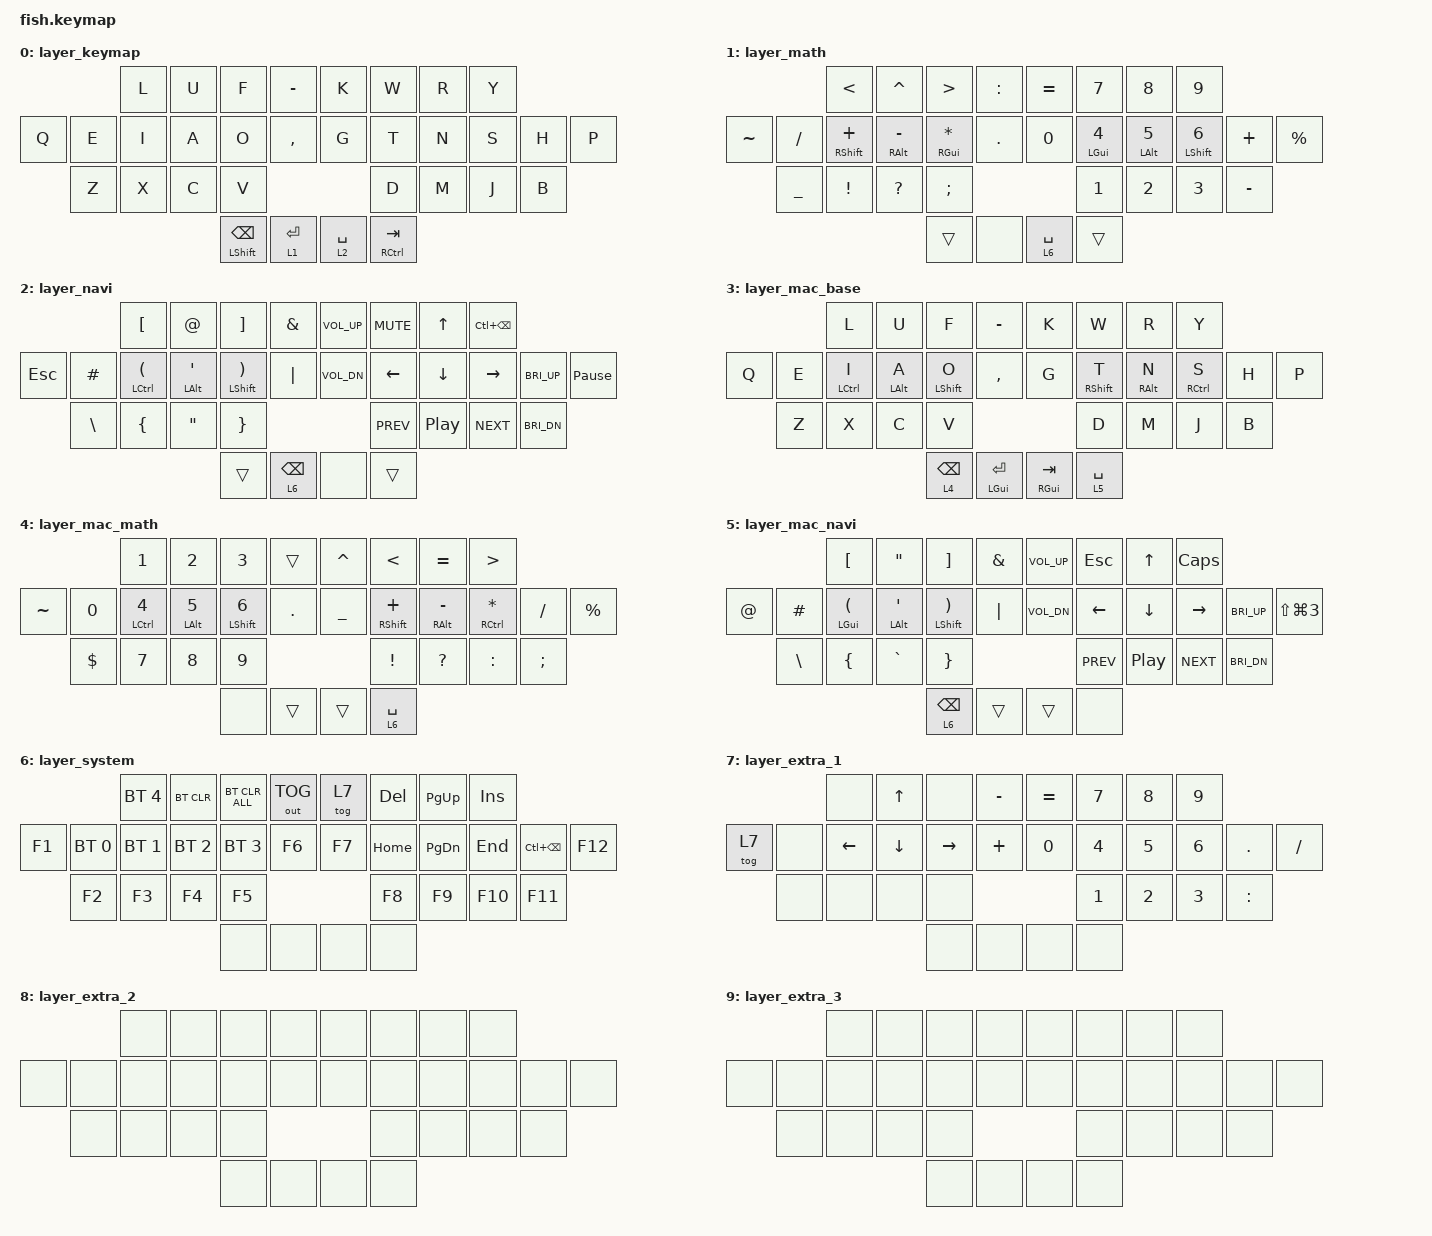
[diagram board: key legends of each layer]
// デフォルトキーマップ（大西配列、Win優先、ANSI方式）
// キーマップを更新する方法は https://o24.works/fish/guide を参照
// 視覚的に編集するには https://o24.works/fish/editor を参照


// 定義を呼んでくる
#include <behaviors.dtsi>
#include <dt-bindings/zmk/keys.h>
#include <dt-bindings/zmk/mouse.h>
#include <dt-bindings/zmk/bt.h>
#include <dt-bindings/zmk/outputs.h>
#include <dt-bindings/zmk/pointing.h>


// 特殊入力の挙動を調整できる

&mt {
    flavor = "tap-preferred";
    tapping-term-ms = <225>;
    quick-tap-ms = <200>;
    require-prior-idle-ms = <150>;
};

&lt {
    flavor = "balanced";
    tapping-term-ms = <175>;
    quick-tap-ms = <200>;
};

&sk {
};

&sl {
};

&caps_word {
};

&key_repeat {
};


/ {
    // 独自の入力を定義できる（上級者向け）

    behaviors {
    };

    macros {
    };

    conditional_layers {
    };


    // 複数キーの同時押しに特別の入力を設定できる
    // キー番号早見表：
    //       0  1  2  3     4  5  6  7
    // 8  9 10 11 12 13    14 15 16 17 18 19
    //   20 21 22 23          24 25 26 27
    //            28 29    30 31

    combos {
        compatible = "zmk,combos";
        timeout-ms = <100>;
        require-prior-idle-ms = <150>;

        combo_lang2 {
            key-positions = <3 13>;
            bindings = <&kp LANG2>;
        };

        combo_lang1 {
            key-positions = <4 14>;
            bindings = <&kp LANG1>;
        };

        combo_reset_L {
            key-positions = <3 8 13>;
            bindings = <&bootloader>;
        };

        combo_reset_R {
            key-positions = <4 14 19>;
            bindings = <&bootloader>;
        };

        combo_studio_unlock {
            key-positions = <20 21 22 23>;
            bindings = <&studio_unlock>;
        };
    };
    

    // キーに入力を割り当てる
    // 型（&...）は https://zmk.dev/docs/behaviors/... を参照
    // キーコードは https://zmk.dev/docs/codes/... を参照

    keymap {
        compatible = "zmk,keymap";

        layer_keymap {
            bindings = <
                        &kp L       &kp U       &kp F       &kp MINUS           &kp K       &kp W       &kp R       &kp Y       
&kp Q       &kp E       &kp I       &kp A       &kp O       &kp COMMA           &kp G       &kp T       &kp N       &kp S       &kp H       &kp P       
            &kp Z       &kp X       &kp C       &kp V                                       &kp D       &kp M       &kp J       &kp B       
                                                &mt LSHFT BSPC &lt 1 RET        &lt 2 SPACE &mt RCTRL TAB 
            >;
        };

        layer_math {
            bindings = <
                        &kp LT      &kp CARET   &kp GT      &kp COLON           &kp EQUAL   &kp N7      &kp N8      &kp N9      
&kp TILDE   &kp FSLH    &mt RSHFT PLUS &mt RALT MINUS &mt RGUI STAR &kp DOT     &kp N0      &mt LGUI N4 &mt LALT N5 &mt LSHFT N6 &kp PLUS   &kp PRCNT   
            &kp UNDER   &kp EXCL    &kp QMARK   &kp SEMI                                    &kp N1      &kp N2      &kp N3      &kp MINUS   
                                                &trans      &none               &lt 6 SPACE &trans      
            >;
        };

        layer_navi {
            bindings = <
                        &kp LBKT    &kp AT      &kp RBKT    &kp AMPS            &kp C_VOL_UP &kp C_MUTE &kp UP      &kp LC(BSPC) 
&kp ESC     &kp HASH    &mt LCTRL LPAR &mt LALT SQT &mt LSHFT RPAR &kp PIPE     &kp C_VOL_DN &kp LEFT   &kp DOWN    &kp RIGHT   &kp C_BRI_UP &kp PAUSE_BREAK 
            &kp BSLH    &kp LBRC    &kp DQT     &kp RBRC                                    &kp C_PREV  &kp C_PP    &kp C_NEXT  &kp C_BRI_DN 
                                                &trans      &lt 6 BSPC          &none       &trans      
            >;
        };

        layer_mac_base {
            bindings = <
                        &kp L       &kp U       &kp F       &kp MINUS           &kp K       &kp W       &kp R       &kp Y       
&kp Q       &kp E       &mt LCTRL I &mt LALT A  &mt LSHFT O &kp COMMA           &kp G       &mt RSHFT T &mt RALT N  &mt RCTRL S &kp H       &kp P       
            &kp Z       &kp X       &kp C       &kp V                                       &kp D       &kp M       &kp J       &kp B       
                                                &lt 4 BSPC  &mt LGUI RET        &mt RGUI TAB &lt 5 SPACE 
            >;
        };

        layer_mac_math {
            bindings = <
                        &kp N1      &kp N2      &kp N3      &trans              &kp CARET   &kp LT      &kp EQUAL   &kp GT      
&kp TILDE   &kp N0      &mt LCTRL N4 &mt LALT N5 &mt LSHFT N6 &kp DOT           &kp UNDER   &mt RSHFT PLUS &mt RALT MINUS &mt RCTRL STAR &kp FSLH &kp PRCNT 
            &kp DLLR    &kp N7      &kp N8      &kp N9                                      &kp EXCL    &kp QMARK   &kp COLON   &kp SEMI    
                                                &none       &trans              &trans      &lt 6 SPACE 
            >;
        };

        layer_mac_navi {
            bindings = <
                        &kp LBKT    &kp DQT     &kp RBKT    &kp AMPS            &kp C_VOL_UP &kp ESC    &kp UP      &kp CAPS    
&kp AT      &kp HASH    &mt LGUI LPAR &mt LALT SQT &mt LSHFT RPAR &kp PIPE      &kp C_VOL_DN &kp LEFT   &kp DOWN    &kp RIGHT   &kp C_BRI_UP &kp LS(LG(N3)) 
            &kp BSLH    &kp LBRC    &kp GRAVE   &kp RBRC                                    &kp C_PREV  &kp C_PP    &kp C_NEXT  &kp C_BRI_DN 
                                                &lt 6 BSPC  &trans              &trans      &none       
            >;
        };

        layer_system {
            bindings = <
                        &bt BT_SEL 4 &bt BT_CLR &bt BT_CLR_ALL &out OUT_TOG     &tog 7      &kp DEL     &kp PG_UP   &kp INS     
&kp F1      &bt BT_SEL 0 &bt BT_SEL 1 &bt BT_SEL 2 &bt BT_SEL 3 &kp F6          &kp F7      &kp HOME    &kp PG_DN   &kp END     &kp LC(BSPC) &kp F12    
            &kp F2      &kp F3      &kp F4      &kp F5                                      &kp F8      &kp F9      &kp F10     &kp F11     
                                                &none       &none               &none       &none       
            >;
        };

        layer_extra_1 {
            bindings = <
                        &none       &kp UP      &none       &kp MINUS           &kp EQUAL   &kp N7      &kp N8      &kp N9      
&tog 7      &none       &kp LEFT    &kp DOWN    &kp RIGHT   &kp PLUS            &kp N0      &kp N4      &kp N5      &kp N6      &kp DOT     &kp FSLH    
            &none       &none       &none       &none                                       &kp N1      &kp N2      &kp N3      &kp COLON   
                                                &none       &none               &none       &none       
            >;
        };

        layer_extra_2 {
            bindings = <
                        &none       &none       &none       &none               &none       &none       &none       &none       
&none       &none       &none       &none       &none       &none               &none       &none       &none       &none       &none       &none       
            &none       &none       &none       &none                                       &none       &none       &none       &none       
                                                &none       &none               &none       &none       
            >;
        };

        layer_extra_3 {
            bindings = <
                        &none       &none       &none       &none               &none       &none       &none       &none       
&none       &none       &none       &none       &none       &none               &none       &none       &none       &none       &none       &none       
            &none       &none       &none       &none                                       &none       &none       &none       &none       
                                                &none       &none               &none       &none       
            >;
        };
    };
};
